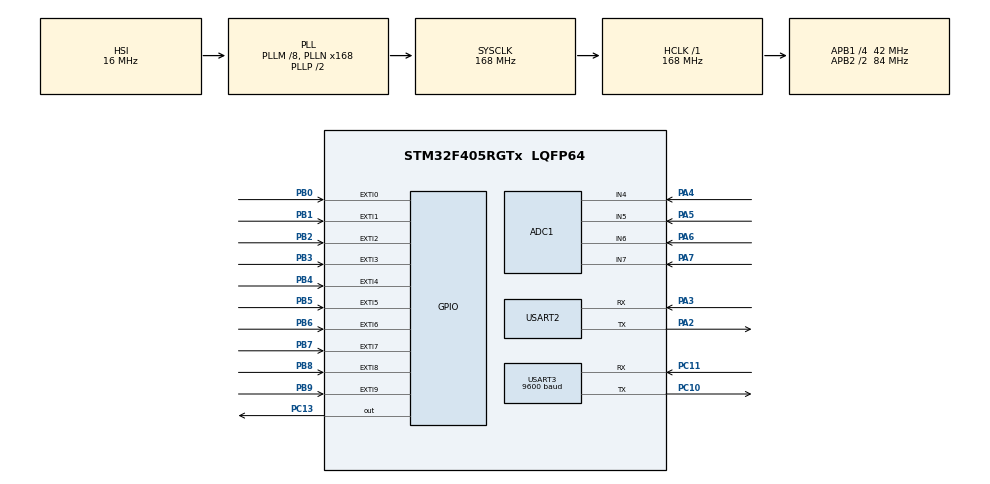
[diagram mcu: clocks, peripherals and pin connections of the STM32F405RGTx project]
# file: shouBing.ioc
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ADC1.Channel-1\#ChannelRegularConversion=ADC_CHANNEL_4
ADC1.Channel-2\#ChannelRegularConversion=ADC_CHANNEL_5
ADC1.Channel-3\#ChannelRegularConversion=ADC_CHANNEL_6
ADC1.Channel-4\#ChannelRegularConversion=ADC_CHANNEL_7
ADC1.NbrOfConversion=4
ADC1.NbrOfConversionFlag=1
ADC1.Rank-1\#ChannelRegularConversion=1
ADC1.Rank-2\#ChannelRegularConversion=2
ADC1.Rank-3\#ChannelRegularConversion=3
ADC1.Rank-4\#ChannelRegularConversion=4
ADC1.SamplingTime-1\#ChannelRegularConversion=ADC_SAMPLETIME_15CYCLES
ADC1.SamplingTime-2\#ChannelRegularConversion=ADC_SAMPLETIME_15CYCLES
ADC1.SamplingTime-3\#ChannelRegularConversion=ADC_SAMPLETIME_15CYCLES
ADC1.SamplingTime-4\#ChannelRegularConversion=ADC_SAMPLETIME_15CYCLES
ADC1.master=1
Dma.ADC1.0.Direction=DMA_PERIPH_TO_MEMORY
Dma.ADC1.0.FIFOMode=DMA_FIFOMODE_DISABLE
Dma.ADC1.0.Instance=DMA2_Stream0
Dma.ADC1.0.MemDataAlignment=DMA_MDATAALIGN_HALFWORD
Dma.ADC1.0.MemInc=DMA_MINC_ENABLE
Dma.ADC1.0.Mode=DMA_NORMAL
Dma.ADC1.0.PeriphDataAlignment=DMA_PDATAALIGN_HALFWORD
Dma.ADC1.0.PeriphInc=DMA_PINC_DISABLE
Dma.ADC1.0.Priority=DMA_PRIORITY_LOW
Dma.Request0=ADC1
Dma.Request1=USART3_RX
Dma.Request2=USART3_TX
Dma.USART3_RX.1.Direction=DMA_PERIPH_TO_MEMORY
Dma.USART3_RX.1.FIFOMode=DMA_FIFOMODE_DISABLE
Dma.USART3_RX.1.Instance=DMA1_Stream1
Dma.USART3_RX.1.MemDataAlignment=DMA_MDATAALIGN_BYTE
Dma.USART3_RX.1.MemInc=DMA_MINC_ENABLE
Dma.USART3_RX.1.Mode=DMA_NORMAL
Dma.USART3_RX.1.PeriphDataAlignment=DMA_PDATAALIGN_BYTE
Dma.USART3_RX.1.PeriphInc=DMA_PINC_DISABLE
Dma.USART3_RX.1.Priority=DMA_PRIORITY_LOW
Dma.USART3_TX.2.Direction=DMA_MEMORY_TO_PERIPH
Dma.USART3_TX.2.FIFOMode=DMA_FIFOMODE_DISABLE
Dma.USART3_TX.2.Instance=DMA1_Stream3
Dma.USART3_TX.2.MemDataAlignment=DMA_MDATAALIGN_BYTE
Dma.USART3_TX.2.MemInc=DMA_MINC_ENABLE
Dma.USART3_TX.2.Mode=DMA_NORMAL
Dma.USART3_TX.2.PeriphDataAlignment=DMA_PDATAALIGN_BYTE
Dma.USART3_TX.2.PeriphInc=DMA_PINC_DISABLE
Dma.USART3_TX.2.Priority=DMA_PRIORITY_LOW
Mcu.Family=STM32F4
Mcu.Name=STM32F405RGTx
Mcu.Package=LQFP64
NVIC.ADC_IRQn=true\:0\:0\:false\:false\:true\:true\:true\:true
NVIC.DMA1_Stream1_IRQn=true\:0\:0\:false\:false\:true\:false\:true\:true
NVIC.DMA1_Stream3_IRQn=true\:0\:0\:false\:false\:true\:false\:true\:true
NVIC.DMA2_Stream0_IRQn=true\:0\:0\:false\:false\:true\:false\:true\:true
NVIC.EXTI0_IRQn=true\:1\:0\:true\:false\:true\:true\:true\:true
NVIC.EXTI1_IRQn=true\:1\:0\:true\:false\:true\:true\:true\:true
NVIC.EXTI2_IRQn=true\:1\:0\:true\:false\:true\:true\:true\:true
NVIC.EXTI3_IRQn=true\:1\:0\:true\:false\:true\:true\:true\:true
NVIC.EXTI4_IRQn=true\:1\:0\:true\:false\:true\:true\:true\:true
NVIC.EXTI9_5_IRQn=true\:1\:0\:true\:false\:true\:true\:true\:true
NVIC.PriorityGroup=NVIC_PRIORITYGROUP_4
NVIC.TIM3_IRQn=true\:2\:0\:true\:false\:true\:true\:true\:true
NVIC.TIM6_DAC_IRQn=true\:0\:0\:false\:false\:true\:true\:true\:true
NVIC.USART3_IRQn=true\:0\:0\:false\:false\:true\:true\:true\:true
PA13.Mode=Serial_Wire
PA13.Signal=SYS_JTMS-SWDIO
PA14.Mode=Serial_Wire
PA14.Signal=SYS_JTCK-SWCLK
PA2.Mode=Asynchronous
PA2.Signal=USART2_TX
PA3.Mode=Asynchronous
PA3.Signal=USART2_RX
PA4.Signal=ADCx_IN4
PA5.Signal=ADCx_IN5
PA6.Signal=ADCx_IN6
PA7.Signal=ADCx_IN7
PB0.GPIO_ModeDefaultEXTI=GPIO_MODE_IT_FALLING
PB0.GPIO_PuPd=GPIO_PULLUP
PB0.Signal=GPXTI0
PB1.GPIO_ModeDefaultEXTI=GPIO_MODE_IT_FALLING
PB1.GPIO_PuPd=GPIO_PULLUP
PB1.Signal=GPXTI1
PB2.GPIO_ModeDefaultEXTI=GPIO_MODE_IT_FALLING
PB2.GPIO_PuPd=GPIO_PULLUP
PB2.Signal=GPXTI2
PB3.GPIO_ModeDefaultEXTI=GPIO_MODE_IT_FALLING
PB3.GPIO_PuPd=GPIO_PULLUP
PB3.Signal=GPXTI3
PB4.GPIO_ModeDefaultEXTI=GPIO_MODE_IT_FALLING
PB4.GPIO_PuPd=GPIO_PULLUP
PB4.Signal=GPXTI4
PB5.GPIO_ModeDefaultEXTI=GPIO_MODE_IT_FALLING
PB5.GPIO_PuPd=GPIO_PULLUP
PB5.Signal=GPXTI5
PB6.GPIO_ModeDefaultEXTI=GPIO_MODE_IT_FALLING
PB6.GPIO_PuPd=GPIO_PULLUP
PB6.Signal=GPXTI6
PB7.GPIO_ModeDefaultEXTI=GPIO_MODE_IT_FALLING
PB7.GPIO_PuPd=GPIO_PULLUP
PB7.Signal=GPXTI7
PB8.GPIO_ModeDefaultEXTI=GPIO_MODE_IT_FALLING
PB8.GPIO_PuPd=GPIO_PULLUP
PB8.Signal=GPXTI8
PB9.GPIO_ModeDefaultEXTI=GPIO_MODE_IT_FALLING
PB9.GPIO_PuPd=GPIO_PULLUP
PB9.Signal=GPXTI9
PC10.Mode=Asynchronous
PC10.Signal=USART3_TX
PC11.Mode=Asynchronous
PC11.Signal=USART3_RX
PC13-ANTI_TAMP.PinState=GPIO_PIN_SET
PC13-ANTI_TAMP.Signal=GPIO_Output
PH0-OSC_IN.Mode=HSE-External-Oscillator
PH0-OSC_IN.Signal=RCC_OSC_IN
PH1-OSC_OUT.Mode=HSE-External-Oscillator
PH1-OSC_OUT.Signal=RCC_OSC_OUT
ProjectManager.HeapSize=0x200
ProjectManager.StackSize=0x400
ProjectManager.TargetToolchain=CMake
RCC.48MHZClocksFreq_Value=84000000
RCC.AHBFreq_Value=168000000
RCC.APB1CLKDivider=RCC_HCLK_DIV4
RCC.APB1Freq_Value=42000000
RCC.APB1TimFreq_Value=84000000
RCC.APB2CLKDivider=RCC_HCLK_DIV2
RCC.APB2Freq_Value=84000000
RCC.APB2TimFreq_Value=168000000
RCC.CortexFreq_Value=168000000
RCC.HCLKFreq_Value=168000000
RCC.HSE_VALUE=25000000
RCC.HSI_VALUE=16000000
RCC.LSE_VALUE=32768
RCC.PLLM=8
RCC.PLLN=168
RCC.SYSCLKFreq_VALUE=168000000
RCC.SYSCLKSource=RCC_SYSCLKSOURCE_PLLCLK
RCC.VCOOutputFreq_Value=336000000
SH.ADCx_IN4.0=ADC1_IN4,IN4
SH.ADCx_IN5.0=ADC1_IN5,IN5
SH.ADCx_IN6.0=ADC1_IN6,IN6
SH.ADCx_IN7.0=ADC1_IN7,IN7
TIM3.Period=1000-1
TIM3.Prescaler=168-1
TIM6.Period=10000-1
TIM6.Prescaler=16800-1
USART2.VirtualMode=VM_ASYNC
USART3.BaudRate=9600
USART3.VirtualMode=VM_ASYNC
VP_TIM3_VS_ClockSourceINT.Mode=Internal
VP_TIM6_VS_ClockSourceINT.Mode=Enable_Timer
board=custom

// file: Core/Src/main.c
/* USER CODE BEGIN Header */
/**
  ******************************************************************************
  * @file           : main.c
  * @brief          : Main program body
  ******************************************************************************
  * @attention
  *
  * Copyright (c) 2025 STMicroelectronics.
  * All rights reserved.
  *
  * This software is licensed under terms that can be found in the LICENSE file
  * in the root directory of this software component.
  * If no LICENSE file comes with this software, it is provided AS-IS.
  *
  ******************************************************************************
  */
/* USER CODE END Header */
#include "main.h"
#include "adc.h"
#include "dma.h"
#include "tim.h"
#include "usart.h"
#include "gpio.h"

/* USER CODE BEGIN Includes */
#include <stdio.h>
#include <stdlib.h>
#include <string.h>
#include <main.h>
/* USER CODE END Includes */

/* USER CODE BEGIN PV */
// 8个按钮对应的引脚配置
#define BUTTON_COUNT 8
const uint16_t button_pins[BUTTON_COUNT] = {
    GPIO_PIN_0, GPIO_PIN_1, GPIO_PIN_3, GPIO_PIN_4,
    GPIO_PIN_5, GPIO_PIN_6, GPIO_PIN_7, GPIO_PIN_8
};

volatile uint8_t key_exti_flag[BUTTON_COUNT] = {0};   // 每个按钮的EXTI中断标志
volatile uint8_t key_stable_state[BUTTON_COUNT] = {0}; // 每个按钮的消抖后状态（0=释放，1=按下）
volatile uint16_t debounce_cnt[BUTTON_COUNT] = {0};   // 每个按钮的消抖计数器

// ADC 校准偏移值
uint16_t adc_offset[4] = {0}; // 4个通道的偏移值
uint8_t calib_count = 0;     // 校准采样计数
uint32_t calib_sum[4] = {0}; // 校准采样累加和

// 统一数据包结构体（用于内部数据收集）
typedef struct {
    uint8_t buttons[BUTTON_COUNT];  // 8个按钮状态
    int16_t left_Y;                 // 左摇杆Y轴
    int16_t left_X;                 // 左摇杆X轴
    int16_t right_Y;                // 右摇杆Y轴
    int16_t right_X;                // 右摇杆X轴
} GamepadData_t;

// 通信数据包结构体
typedef struct __attribute__((packed)) {
    char head;              // 包头，固定为'+'
    uint32_t id;            // 数据包序号（递增）
    int16_t action[4];      // 摇杆数据：[left_Y, left_X, right_Y, right_X]
    uint32_t button;        // 按钮状态（8位，每位代表一个按钮）
    uint32_t reserve;       // 保留字段
    uint32_t crc32;         // CRC32校验值
    char tail;              // 包尾，固定为'*'
} CommPacket_t;

volatile GamepadData_t gamepad_data = {0}; // 手柄数据包
volatile uint8_t adc_ready_flag = 0;       // ADC数据就绪标志
static uint32_t packet_id = 0;             // 数据包序号
/* USER CODE END PV */

void SystemClock_Config(void);
/* USER CODE BEGIN PFP */
void ADC_Calibration(void);
/* USER CODE END PFP */

/* USER CODE BEGIN 0 */
uint16_t values[4];
char message[80] = "";

/**
 * @brief  计算CRC32校验值（使用标准CRC-32算法）
 * @param  data: 待校验的数据指针
 * @param  length: 数据长度（字节数）
 * @retval CRC32校验值
 */
uint32_t Calculate_CRC32(const uint8_t *data, uint32_t length)
{
    uint8_t i;
    uint32_t crc = 0xffffffff;        // Initial value
    while(length--)
    {
        crc ^= *data++;
        for (i = 0; i < 8; ++i)
        {
            if (crc & 1)
                crc = (crc >> 1) ^ 0xEDB88320; // 0xEDB88320= reverse 0x04C11DB7
            else
                crc = (crc >> 1);
        }
    }
    return ~crc;
}

void HAL_TIM_PeriodElapsedCallback(TIM_HandleTypeDef *htim) {
  //TIM6定时器中断每1s反转一下gpiopc13电平用于指示芯片正常工作
  if (htim->Instance == TIM6) {
    HAL_GPIO_TogglePin(GPIOC, GPIO_PIN_13);
  }

  //TIM3定时器中断为1000hz，为按键消抖和adc数据提供时间基准
  if (htim->Instance == TIM3)
    {
        static uint32_t tick_1kHz = 0;
        ++tick_1kHz;

        /* ---- 8个按钮的消抖处理 ---- */
        for (uint8_t i = 0; i < BUTTON_COUNT; i++)
        {
            // 处理中断标志
            if (key_exti_flag[i])
            {
                key_exti_flag[i] = 0;
                debounce_cnt[i] = 15; // 15 ms 后再采样
            }

            // 消抖计数
            if (debounce_cnt[i])
            {
                --debounce_cnt[i];
                if (debounce_cnt[i] == 0)
                {
                    // 再次读引脚，低=按下，高=释放
                    if (HAL_GPIO_ReadPin(GPIOB, button_pins[i]) == GPIO_PIN_RESET)
                        key_stable_state[i] = 1;  // 按下状态
                    else
                        key_stable_state[i] = 0;  // 释放状态
                }
            }
        }

        // 定期检查按钮状态,用于保证按钮持续按下时状态不变
        static uint32_t last_check_tick = 0;
        if (tick_1kHz - last_check_tick >= 100)  // 100ms
        {
            last_check_tick = tick_1kHz;
            for (uint8_t i = 0; i < BUTTON_COUNT; i++)
            {
                uint8_t current_state = (HAL_GPIO_ReadPin(GPIOB, button_pins[i]) == GPIO_PIN_RESET) ? 1 : 0;
                if (current_state != key_stable_state[i] && debounce_cnt[i] == 0)
                {
                    // 状态改变且不在消抖期，立即更新
                    key_stable_state[i] = current_state;
                }
            }
        }

        /* ---- 50 Hz 采集手柄数据 ---- */
        if (tick_1kHz % 20 == 0)      // 20 ms 到
        {
            // 更新按钮状态到数据包
            for (uint8_t i = 0; i < BUTTON_COUNT; i++)
            {
                gamepad_data.buttons[i] = key_stable_state[i];
            }

            // 触发ADC采集（在ADC完成回调中会组合发送完整数据包）
            HAL_ADC_Start_DMA(&hadc1, (uint32_t*)values, 4);
        }
    }
}

void HAL_ADC_ConvCpltCallback(ADC_HandleTypeDef *hadc){
  if (hadc==&hadc1) {
    // 使用校准后的ADC值进行计算，范围-100到100，中心为0
    // left_Y, left_X, right_Y, right_X
    int16_t left_Y = ((int32_t)(values[2] - adc_offset[2]) * 100) / 2048;
    int16_t left_X = -((int32_t)(values[3] - adc_offset[3]) * 100) / 2048;
    int16_t right_Y = -((int32_t)(values[0] - adc_offset[0]) * 100) / 2048;
    int16_t right_X = ((int32_t)(values[1] - adc_offset[1]) * 100) / 2048;

    // 死区处理：绝对值小于5时认为是误差，输出为0
    if (abs(left_Y) < 7) left_Y = 0;
    if (abs(left_X) < 7) left_X = 0;
    if (abs(right_Y) < 7) right_Y = 0;
    if (abs(right_X) < 7) right_X = 0;

    gamepad_data.left_Y = left_Y;
    gamepad_data.left_X = left_X;
    gamepad_data.right_Y = right_Y;
    gamepad_data.right_X = right_X;

    // 组装新的通信数据包
    CommPacket_t packet;
    packet.head = '+';  // 包头
    packet.id = packet_id++;  // 数据包序号

    // 摇杆数据
    packet.action[0] = gamepad_data.left_Y;
    packet.action[1] = gamepad_data.left_X;
    packet.action[2] = gamepad_data.right_Y;
    packet.action[3] = gamepad_data.right_X;

    // 按钮状态（将8个按钮状态压缩到一个uint32_t中）
    packet.button = 0;
    for (uint8_t i = 0; i < BUTTON_COUNT; i++)
    {
        if (gamepad_data.buttons[i])
            packet.button |= (1 << i);
    }

    packet.reserve = 0;  // 保留字段

    // 计算CRC32（从id到button的所有字段）
    uint8_t *crc_data = (uint8_t*)&packet.id;
    uint32_t crc_length = sizeof(packet.id) + sizeof(packet.action) + sizeof(packet.button);
    packet.crc32 = Calculate_CRC32(crc_data, crc_length);

    packet.tail = '*';  // 包尾

    // 通过UART发送数据包
    HAL_UART_Transmit_DMA(&huart3, (uint8_t*)&packet, sizeof(CommPacket_t));
  }
}

void ADC_Calibration(void)
{
    uint16_t temp_values[4];

    // 初始化校准变量
    memset(calib_sum, 0, sizeof(calib_sum));
    calib_count = 0;

    // 读取20个ADC采样值进行校准
    for(int i = 0; i < 20; i++)
    {
        HAL_ADC_Start_DMA(&hadc1, (uint32_t*)temp_values, 4);
        HAL_Delay(10); // 等待ADC转换完成

        for(int ch = 0; ch < 4; ch++)
        {
            calib_sum[ch] += temp_values[ch];
        }
        calib_count++;
    }

    // 计算平均值作为偏移
    for(int ch = 0; ch < 4; ch++)
    {
        adc_offset[ch] = calib_sum[ch] / calib_count;
    }
}

void HAL_GPIO_EXTI_Callback(uint16_t GPIO_Pin)
{
    // 检查是哪个按钮触发了中断
    for (uint8_t i = 0; i < BUTTON_COUNT; i++)
    {
        if (GPIO_Pin == button_pins[i])
        {
            key_exti_flag[i] = 1;  // 仅置位对应按钮的标志，立即退出
            break;
        }
    }
}

/* USER CODE END 0 */

int main(void)
{

  /* MCU Configuration--------------------------------------------------------*/

  /* Reset of all peripherals, Initializes the Flash interface and the Systick. */
  HAL_Init();

  /* Configure the system clock */
  SystemClock_Config();

  /* Initialize all configured peripherals */
  MX_GPIO_Init();
  MX_DMA_Init();
  MX_ADC1_Init();
  MX_USART2_UART_Init();
  MX_USART3_UART_Init();
  MX_TIM3_Init();
  MX_TIM6_Init();
  /* USER CODE BEGIN 2 */
  // ADC校准：获取摇杆中位偏移值
  ADC_Calibration();

  // 启动定时器
  HAL_TIM_Base_Start_IT(&htim3);
  HAL_TIM_Base_Start_IT(&htim6);

  /* USER CODE END 2 */

  /* Infinite loop */
  while (1)
  {

  }
}

void SystemClock_Config(void)
{
  RCC_OscInitTypeDef RCC_OscInitStruct = {0};
  RCC_ClkInitTypeDef RCC_ClkInitStruct = {0};

  /** Configure the main internal regulator output voltage
  */
  __HAL_RCC_PWR_CLK_ENABLE();
  __HAL_PWR_VOLTAGESCALING_CONFIG(PWR_REGULATOR_VOLTAGE_SCALE1);

  /** Initializes the RCC Oscillators according to the specified parameters
  * in the RCC_OscInitTypeDef structure.
  */
  RCC_OscInitStruct.OscillatorType = RCC_OSCILLATORTYPE_HSI;
  RCC_OscInitStruct.HSIState = RCC_HSI_ON;
  RCC_OscInitStruct.HSICalibrationValue = RCC_HSICALIBRATION_DEFAULT;
  RCC_OscInitStruct.PLL.PLLState = RCC_PLL_ON;
  RCC_OscInitStruct.PLL.PLLSource = RCC_PLLSOURCE_HSI;
  RCC_OscInitStruct.PLL.PLLM = 8;
  RCC_OscInitStruct.PLL.PLLN = 168;
  RCC_OscInitStruct.PLL.PLLP = RCC_PLLP_DIV2;
  RCC_OscInitStruct.PLL.PLLQ = 4;
  if (HAL_RCC_OscConfig(&RCC_OscInitStruct) != HAL_OK)
  {
    Error_Handler();
  }

  /** Initializes the CPU, AHB and APB buses clocks
  */
  RCC_ClkInitStruct.ClockType = RCC_CLOCKTYPE_HCLK|RCC_CLOCKTYPE_SYSCLK
                              |RCC_CLOCKTYPE_PCLK1|RCC_CLOCKTYPE_PCLK2;
  RCC_ClkInitStruct.SYSCLKSource = RCC_SYSCLKSOURCE_PLLCLK;
  RCC_ClkInitStruct.AHBCLKDivider = RCC_SYSCLK_DIV1;
  RCC_ClkInitStruct.APB1CLKDivider = RCC_HCLK_DIV4;
  RCC_ClkInitStruct.APB2CLKDivider = RCC_HCLK_DIV2;

  if (HAL_RCC_ClockConfig(&RCC_ClkInitStruct, FLASH_LATENCY_5) != HAL_OK)
  {
    Error_Handler();
  }
}

void Error_Handler(void)
{
  __disable_irq();
  while (1)
  {
  }
}
